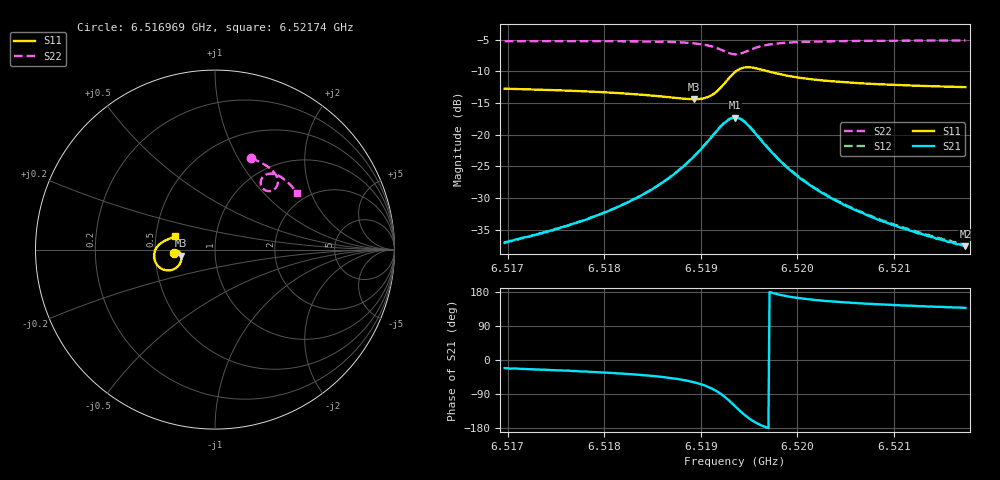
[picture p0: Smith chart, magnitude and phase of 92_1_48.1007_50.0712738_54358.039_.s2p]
#  HZ  S  RI  R  50.00
! Rohde & Schwarz Vector Network Analyzer
! Rohde-Schwarz,ZNB20-2Port,1311601062101988,3.16
! Created: UTC 12/23/2023, 3:43:50 AM
! freq[Hz]  re:S11  im:S11  re:S21  im:S21  re:S12  im:S12  re:S22  im:S22
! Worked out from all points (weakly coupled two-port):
!   401 points, 6.516969 GHz to 6.52174 GHz, reference 50 ohm
!   highest |S21| = -17.30 dB at 6.519355 GHz (marker M1); lowest = -37.6 dB at 6.52174 GHz (marker M2)
!   lowest |S11| = -14.4 dB at 6.518925 GHz (marker M3), VSWR 1.47, Z = 34.1 - j2.43 ohm
!   |S11| at or under -10 dB: start of sweep to 6.519362 GHz; 6.519702 GHz to end of sweep
!   |S22| runs from -7.3 to -5.1 dB; largest |S21 - S12| = 0.0042
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6.5169688e9  -0.2307 -0.0179  0.0131 -0.0051  0.0132 -0.00483  0.2013 0.5099
6.5174221e9  -0.2257 -0.0114  0.0155 -0.00761  0.0157 -0.00708  0.2349 0.496
6.517768e9  -0.2207 -0.00731  0.0179 -0.0105  0.0183 -0.00979  0.2605 0.4829
6.5182332e9  -0.2113 -0.00523  0.0233 -0.0173  0.0239 -0.0166  0.2954 0.4611
6.5185672e9  -0.2013 -0.00959  0.0289 -0.0278  0.0299 -0.027  0.3213 0.439
6.5187581e9  -0.1941 -0.0182  0.0329 -0.0392  0.0343 -0.0384  0.3362 0.4209
6.5189251e9  -0.1879 -0.0343  0.0349 -0.0568  0.037 -0.0562  0.3471 0.3983
6.5190444e9  -0.1874 -0.0552  0.0316 -0.0773  0.0343 -0.0768  0.3504 0.3753
6.5191279e9  -0.1944 -0.0765  0.0222 -0.0966  0.0251 -0.0967  0.3455 0.3552
6.5192591e9  -0.2367 -0.1121  -0.0211 -0.1249  -0.0175 -0.1263  0.313 0.3269
6.5193068e9  -0.2641 -0.1159  -0.0464 -0.1256  -0.0429 -0.1278  0.2933 0.3261
6.5193545e9  -0.2937 -0.1088  -0.072 -0.116  -0.0693 -0.1189  0.2737 0.3341
6.5194022e9  -0.3183 -0.0904  -0.0921 -0.0973  -0.0899 -0.1006  0.2597 0.35
6.5194619e9  -0.3359 -0.0594  -0.1041 -0.0685  -0.103 -0.0718  0.2543 0.3737
6.5195692e9  -0.3354 -0.00957  -0.0985 -0.0258  -0.0984 -0.0289  0.2685 0.4063
6.5196766e9  -0.3192 0.0196  -0.0811 -0.00351  -0.0819 -0.00584  0.2913 0.4202
6.5199152e9  -0.2877 0.0452  -0.0521 0.0117  -0.0529 0.0104  0.3317 0.4206
6.5201537e9  -0.2687 0.054  -0.0363 0.0138  -0.0372 0.013  0.3588 0.4095
6.5205116e9  -0.2521 0.061  -0.0239 0.0129  -0.0247 0.0125  0.3885 0.3892
6.5209529e9  -0.2396 0.0674  -0.0164 0.0112  -0.0169 0.0109  0.4172 0.3633
6.5213585e9  -0.231 0.0731  -0.0122 0.00998  -0.0128 0.00984  0.4395 0.339
6.5217402e9  -0.2245 0.0783  -0.00968 0.00892  -0.0102 0.00882  0.4582 0.3152
